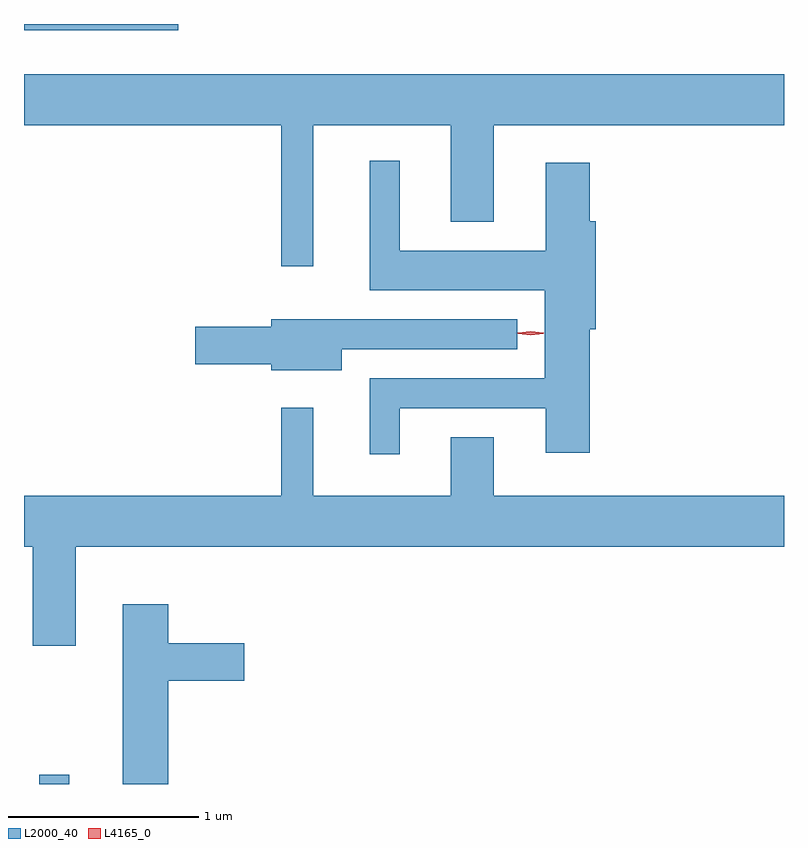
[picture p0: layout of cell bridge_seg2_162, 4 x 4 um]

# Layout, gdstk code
import gdstk
lib = gdstk.Library(unit=1e-6, precision=1e-09)
def R(c, l, rs):  # rectangles x0, y0, x1, y1
    for r in rs: c.add(gdstk.rectangle(r[:2], r[2:], *l))
def P(c, l, *ps):  # polygons
    for p in ps: c.add(gdstk.Polygon(p, *l))
L2000_40 = (2000, 40)
L4165_0 = (4165, 0)

bridge_seg2_162 = lib.new_cell('bridge_seg2_162')
R(bridge_seg2_162, L2000_40, [(782.766,1075.928,782.924,1075.978), (782.686,1079.896,783.498,1079.928)])
P(bridge_seg2_162, L2000_40, [(784.209,1079.396),(784.931,1079.396),(784.931,1078.886),(785.159,1078.886),(785.159,1079.396),(786.686,1079.396),(786.686,1079.664),(782.686,1079.664),(782.686,1079.396),(784.041,1079.396),(784.041,1078.653),(784.209,1078.653)],
  [(784.664,1077.906),(785.431,1077.906),(785.431,1077.671),(785.664,1077.671),(785.664,1078.321),(785.694,1078.321),(785.694,1078.889),(785.664,1078.889),(785.664,1079.199),(785.431,1079.199),(785.431,1078.734),(784.664,1078.734),(784.664,1079.208),(784.506,1079.208),(784.506,1078.526),(785.426,1078.526),(785.426,1078.064),(784.506,1078.064),(784.506,1077.663),(784.664,1077.663)],
  [(784.359,1078.216),(785.283,1078.216),(785.283,1078.374),(783.986,1078.374),(783.986,1078.334),(783.586,1078.334),(783.586,1078.136),(783.986,1078.136),(783.986,1078.106),(784.359,1078.106)],
  [(786.686,1077.444),(785.159,1077.444),(785.159,1077.754),(784.931,1077.754),(784.931,1077.444),(784.209,1077.444),(784.209,1077.908),(784.041,1077.908),(784.041,1077.444),(782.686,1077.444),(782.686,1077.176),(782.731,1077.176),(782.731,1076.656),(782.959,1076.656),(782.959,1077.176),(786.686,1077.176)],
  [(783.444,1076.471),(783.844,1076.471),(783.844,1076.669),(783.444,1076.669),(783.444,1076.874),(783.206,1076.874),(783.206,1075.928),(783.444,1075.928)])
P(bridge_seg2_162, L4165_0, [(785.353,1078.289),(785.287,1078.298),(785.287,1078.298),(785.287,1078.299),(785.353,1078.308),(785.418,1078.299),(785.419,1078.299),(785.418,1078.298)],
  [(785.353,1078.292),(785.284,1078.301),(785.283,1078.301),(785.284,1078.302),(785.353,1078.312),(785.422,1078.302),(785.422,1078.302),(785.422,1078.301)])

lib.write_gds('bridge_seg2_162.gds')
